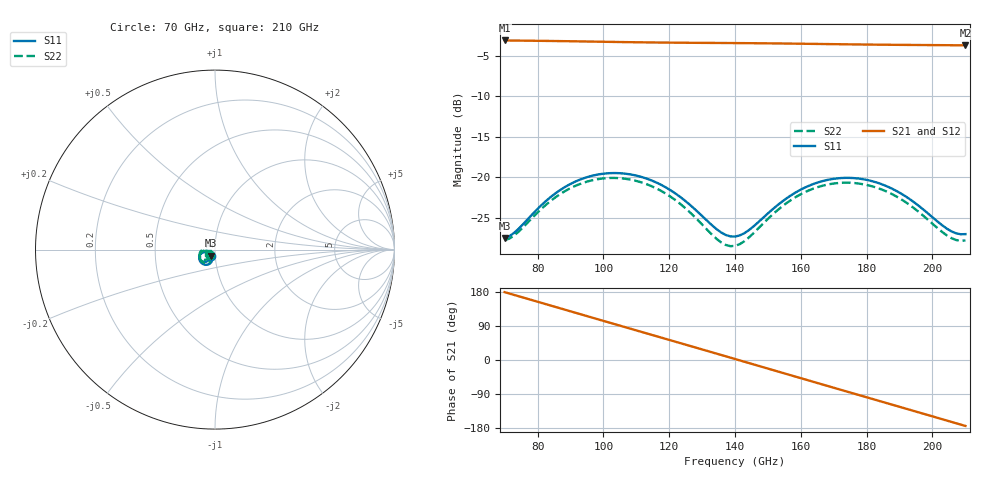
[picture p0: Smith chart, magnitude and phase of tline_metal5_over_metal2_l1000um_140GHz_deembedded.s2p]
! Created with skrf 2.0.1 (http://scikit-rf.org).
# GHz S DB R 50.0
!freq dBS11 angS11 dBS21 angS21 dBS12 angS12 dBS22 angS22
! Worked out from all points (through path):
!   101 points, 70 GHz to 210 GHz, reference 50 ohm
!   highest |S21| = -3.12 dB at 70 GHz (marker M1); lowest = -3.7 dB at 210 GHz (marker M2)
!   group delay of S21, straight-line fit = 7 ps
!   lowest |S11| = -27.5 dB at 70 GHz (marker M3), VSWR 1.09, Z = 47.5 - j3.27 ohm
!   |S11| at or under -10 dB: start of sweep to end of sweep
!   |S22| runs from -28.5 to -20.1 dB; largest |S21 - S12| = 7.9e-14
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70  -27.51 -125.3  -3.12 179.0  -3.12 179.0  -27.78 -129.1
74.2  -26.40 -111.4  -3.14 168.5  -3.14 168.5  -26.76 -115.8
81.2  -23.45 -105.6  -3.17 150.8  -3.17 150.8  -23.91 -110.4
88.2  -21.25 -112.0  -3.21 133.1  -3.21 133.1  -21.76 -117.1
93.8  -20.17 -120.4  -3.24 118.9  -3.24 118.9  -20.71 -125.9
99.4  -19.61 -129.9  -3.28 104.8  -3.28 104.8  -20.19 -135.8
105  -19.51 -139.7  -3.31 90.7  -3.31 90.7  -20.13 -146.1
110.6  -19.87 -149.2  -3.35 76.7  -3.35 76.7  -20.53 -156.0
117.6  -20.96 -159.5  -3.38 59.1  -3.38 59.1  -21.71 -167.0
128.8  -24.33 -166.5  -3.42 30.9  -3.42 30.9  -25.34 -174.5
135.8  -26.84 -155.7  -3.43 13.3  -3.43 13.3  -28.06 -162.4
140  -27.34 -142.2  -3.44 2.7  -3.44 2.7  -28.49 -147.3
144.2  -26.55 -129.6  -3.46 -8.0  -3.46 -8.0  -27.46 -134.1
151.2  -24.05 -121.4  -3.48 -25.7  -3.48 -25.7  -24.70 -127.0
163.8  -20.85 -130.9  -3.54 -57.6  -3.54 -57.6  -21.42 -138.7
169.4  -20.24 -138.6  -3.57 -71.7  -3.57 -71.7  -20.82 -147.2
175  -20.10 -146.8  -3.60 -85.8  -3.60 -85.8  -20.70 -156.0
180.6  -20.39 -154.8  -3.63 -99.9  -3.63 -99.9  -21.02 -164.7
187.6  -21.40 -163.5  -3.66 -117.5  -3.66 -117.5  -22.08 -173.9
198.8  -24.54 -167.7  -3.69 -145.7  -3.69 -145.7  -25.33 -178.9
205.8  -26.71 -156.2  -3.71 -163.4  -3.71 -163.4  -27.54 -167.1
210  -27.04 -143.4  -3.72 -174.1  -3.72 -174.1  -27.82 -154.1
